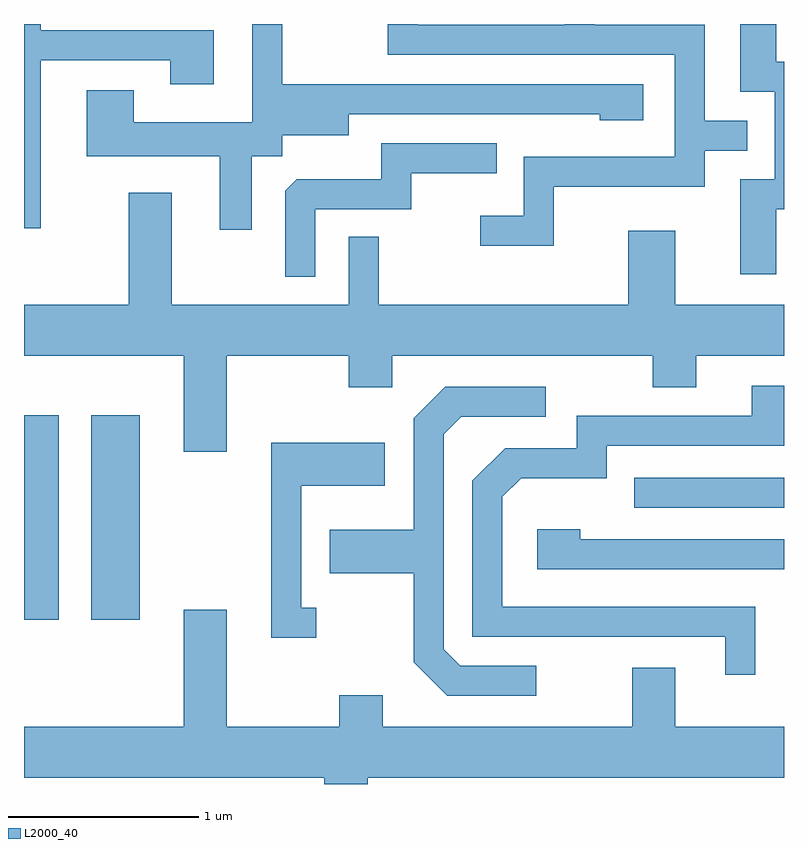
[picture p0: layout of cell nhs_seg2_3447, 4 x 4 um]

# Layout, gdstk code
import gdstk
lib = gdstk.Library(unit=1e-6, precision=1e-09)
def R(c, l, rs):  # rectangles x0, y0, x1, y1
    for r in rs: c.add(gdstk.rectangle(r[:2], r[2:], *l))
def P(c, l, *ps):  # polygons
    for p in ps: c.add(gdstk.Polygon(p, *l))
L2000_40 = (2000, 40)

nhs_seg2_3447 = lib.new_cell('nhs_seg2_3447')
R(nhs_seg2_3447, L2000_40, [(285.611,1084.666,285.794,1085.744), (285.966,1084.666,286.219,1085.744), (288.823,1085.256,289.611,1085.414)])
P(nhs_seg2_3447, L2000_40, [(288.399,1086.946),(289.194,1086.946),(289.194,1087.136),(289.418,1087.136),(289.418,1087.294),(289.194,1087.294),(289.194,1087.799),(288.614,1087.799),(288.614,1087.802),(288.456,1087.802),(288.456,1087.799),(287.684,1087.799),(287.684,1087.802),(287.526,1087.802),(287.526,1087.641),(289.036,1087.641),(289.036,1087.104),(288.241,1087.104),(288.241,1086.794),(288.013,1086.794),(288.013,1086.636),(288.399,1086.636)],
  [(285.699,1087.611),(286.381,1087.611),(286.381,1087.486),(286.609,1087.486),(286.609,1087.769),(285.699,1087.769),(285.699,1087.802),(285.611,1087.802),(285.611,1086.726),(285.699,1086.726)],
  [(289.569,1086.826),(289.611,1086.826),(289.611,1087.604),(289.569,1087.604),(289.569,1087.802),(289.381,1087.802),(289.381,1087.446),(289.561,1087.446),(289.561,1086.984),(289.381,1086.984),(289.381,1086.486),(289.569,1086.486)],
  [(286.809,1087.106),(286.969,1087.106),(286.969,1087.216),(287.319,1087.216),(287.319,1087.326),(288.641,1087.326),(288.641,1087.296),(288.869,1087.296),(288.869,1087.484),(286.969,1087.484),(286.969,1087.802),(286.811,1087.802),(286.811,1087.284),(286.189,1087.284),(286.189,1087.454),(285.941,1087.454),(285.941,1087.106),(286.641,1087.106),(286.641,1086.718),(286.809,1086.718)],
  [(287.144,1086.826),(287.649,1086.826),(287.649,1087.016),(288.098,1087.016),(288.098,1087.174),(287.491,1087.174),(287.491,1086.984),(287.047,1086.984),(286.986,1086.924),(286.986,1086.473),(287.144,1086.473)],
  [(286.679,1086.056),(287.321,1086.056),(287.321,1085.891),(287.549,1085.891),(287.549,1086.056),(288.921,1086.056),(288.921,1085.891),(289.149,1085.891),(289.149,1086.056),(289.611,1086.056),(289.611,1086.324),(289.039,1086.324),(289.039,1086.714),(288.791,1086.714),(288.791,1086.324),(287.479,1086.324),(287.479,1086.683),(287.321,1086.683),(287.321,1086.324),(286.389,1086.324),(286.389,1086.914),(286.161,1086.914),(286.161,1086.324),(285.611,1086.324),(285.611,1086.056),(286.451,1086.056),(286.451,1085.551),(286.679,1085.551)],
  [(289.459,1084.734),(288.129,1084.734),(288.129,1085.314),(288.227,1085.411),(288.679,1085.411),(288.679,1085.581),(289.611,1085.581),(289.611,1085.899),(289.441,1085.899),(289.441,1085.739),(288.521,1085.739),(288.521,1085.569),(288.144,1085.569),(287.971,1085.397),(287.971,1084.576),(289.301,1084.576),(289.301,1084.378),(289.459,1084.378)],
  [(288.308,1084.424),(287.907,1084.424),(287.819,1084.512),(287.819,1085.644),(287.912,1085.736),(288.358,1085.736),(288.358,1085.894),(287.829,1085.894),(287.661,1085.727),(287.661,1085.139),(287.221,1085.139),(287.221,1084.911),(287.661,1084.911),(287.661,1084.444),(287.839,1084.266),(288.308,1084.266)],
  [(287.148,1084.729),(287.069,1084.729),(287.069,1085.371),(287.509,1085.371),(287.509,1085.599),(286.911,1085.599),(286.911,1084.571),(287.148,1084.571)],
  [(289.611,1085.089),(288.539,1085.089),(288.539,1085.144),(288.311,1085.144),(288.311,1084.931),(289.611,1084.931)],
  [(289.611,1084.104),(289.039,1084.104),(289.039,1084.414),(288.811,1084.414),(288.811,1084.104),(287.499,1084.104),(287.499,1084.269),(287.271,1084.269),(287.271,1084.104),(286.679,1084.104),(286.679,1084.719),(286.451,1084.719),(286.451,1084.104),(285.611,1084.104),(285.611,1083.836),(287.191,1083.836),(287.191,1083.802),(287.419,1083.802),(287.419,1083.836),(289.611,1083.836)])

lib.write_gds('nhs_seg2_3447.gds')
